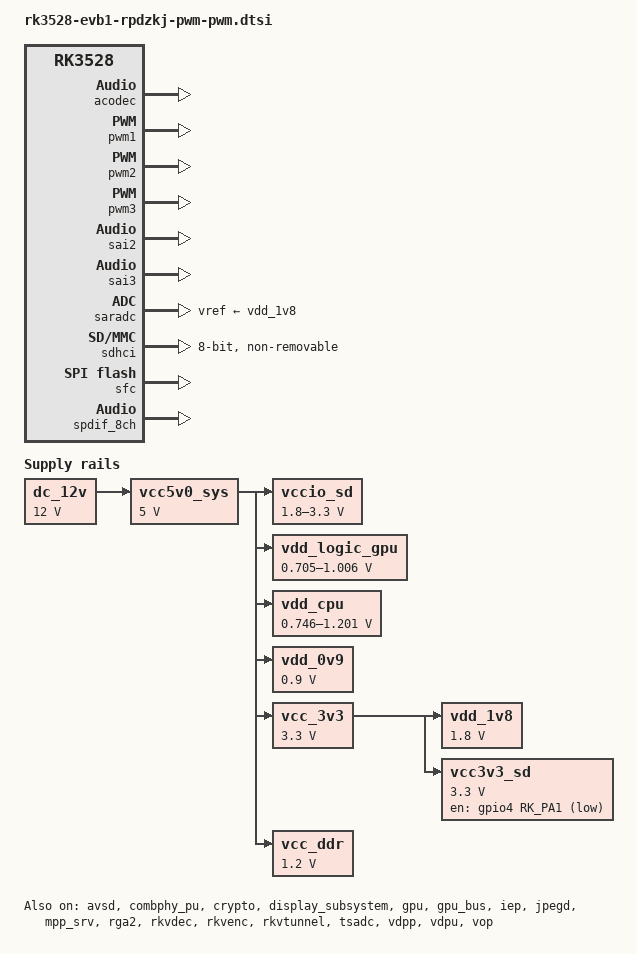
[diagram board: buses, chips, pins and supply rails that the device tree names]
// SPDX-License-Identifier: (GPL-2.0+ OR MIT)
/*
 * Copyright (c) 2022 Rockchip Electronics Co., Ltd.
 *
 */

/dts-v1/;

#include "../rk3528.dtsi"
#include <dt-bindings/gpio/gpio.h>
#include <dt-bindings/input/rk-input.h>
#include <dt-bindings/pinctrl/rockchip.h>

/ {
	dc_12v: dc-12v {
		compatible = "regulator-fixed";
		regulator-name = "dc_12v";
		regulator-always-on;
		regulator-boot-on;
		regulator-min-microvolt = <12000000>;
		regulator-max-microvolt = <12000000>;
	};


	vcc5v0_sys: vcc5v0-sys {
		compatible = "regulator-fixed";
		regulator-name = "vcc5v0_sys";
		regulator-always-on;
		regulator-boot-on;
		regulator-min-microvolt = <5000000>;
		regulator-max-microvolt = <5000000>;
		vin-supply = <&dc_12v>;
	};

	/omit-if-no-ref/
	vccio_sd: vccio-sd {
		compatible = "regulator-gpio";
		regulator-name = "vccio_sd";
		regulator-min-microvolt = <1800000>;
		regulator-max-microvolt = <3300000>;
		gpios = <&gpio4 RK_PB6 GPIO_ACTIVE_HIGH>;
		vin-supply = <&vcc5v0_sys>;
		states = <1800000 0x0
			  3300000 0x1>;
	};

	vdd_logic_gpu: vdd-logic-gpu {
		compatible = "pwm-regulator";
		pwms = <&pwm2 0 5000 1>;
		regulator-name = "vdd_logic_gpu";
		regulator-min-microvolt = <705000>;
		regulator-max-microvolt = <1006000>;
		regulator-init-microvolt = <900000>;
		regulator-always-on;
		regulator-boot-on;
		regulator-settling-time-up-us = <250>;
		pwm-supply = <&vcc5v0_sys>;
		status = "okay";
	};

	vdd_cpu: vdd-cpu { //vdd_arm
		compatible = "pwm-regulator";
		pwms = <&pwm1 0 5000 1>;
		regulator-name = "vdd_cpu";
		regulator-min-microvolt = <746000>;
		regulator-max-microvolt = <1201000>;
		regulator-init-microvolt = <953000>;
		regulator-always-on;
		regulator-boot-on;
		regulator-settling-time-up-us = <250>;
		pwm-supply = <&vcc5v0_sys>;
		status = "okay";
	};
	/*
	vdd_gpu: vdd-gpu {
		compatible = "pwm-regulator";
		pwms = <&pwm0 0 5000 1>;
		regulator-name = "vdd_gpu";
		regulator-min-microvolt = <705000>;
		regulator-max-microvolt = <1148000>;
		regulator-init-microvolt = <900000>;
		regulator-always-on;
		regulator-boot-on;
		regulator-settling-time-up-us = <250>;
		pwm-supply = <&vcc5v0_sys>;
		status = "okay";
	};
	*/
	vdd_0v9: vdd-0v9 {
		compatible = "regulator-fixed";
		regulator-name = "vdd_0v9";
		regulator-always-on;
		regulator-boot-on;
		regulator-min-microvolt = <900000>;
		regulator-max-microvolt = <900000>;
		vin-supply = <&vcc5v0_sys>;
	};

	vcc_3v3: vcc-3v3 {
		compatible = "regulator-fixed";
		regulator-name = "vcc_3v3";
		regulator-always-on;
		regulator-boot-on;
		regulator-min-microvolt = <3300000>;
		regulator-max-microvolt = <3300000>;
		vin-supply = <&vcc5v0_sys>;
	};

	vdd_1v8: vdd-1v8 {
                compatible = "regulator-fixed";
                regulator-name = "vdd_1v8";
                regulator-always-on;
                regulator-boot-on;
                regulator-min-microvolt = <1800000>;
                regulator-max-microvolt = <1800000>;
                vin-supply = <&vcc_3v3>;
        };

	/omit-if-no-ref/
	vcc3v3_sd: vcc3v3-sd {
		compatible = "regulator-fixed";
		gpio = <&gpio4 RK_PA1 GPIO_ACTIVE_LOW>;
		regulator-name = "vcc3v3_sd";
		regulator-min-microvolt = <3300000>;
		regulator-max-microvolt = <3300000>;
		vin-supply = <&vcc_3v3>;
	};

	vcc_ddr: vcc-ddr {
		compatible = "regulator-fixed";
		regulator-name = "vcc_ddr";
		regulator-always-on;
		regulator-boot-on;
		regulator-min-microvolt = <1200000>;
		regulator-max-microvolt = <1200000>;
		vin-supply = <&vcc5v0_sys>;
	};
};

&acodec {
	pa-ctl-gpios = <&gpio0 RK_PA0 GPIO_ACTIVE_HIGH>;
	status = "okay";
};

&avsd {
	status = "okay";
};

&combphy_pu {
	status = "okay";
};

&cpu0 {
	cpu-supply = <&vdd_cpu>;
};

&crypto {
	status = "okay";
};

&dfi {
	status = "okay";
};

&display_subsystem {
	status = "okay";
};

&dmc {
	center-supply = <&vdd_logic_gpu>;
	status = "okay";
};

&gpu {
	mali-supply = <&vdd_logic_gpu>;
	status = "okay";
};

&gpu_bus {
	bus-supply = <&vdd_logic_gpu>;
	status = "okay";
};

&iep {
	status = "okay";
};

&iep_mmu {
	status = "okay";
};

&jpegd {
	status = "okay";
};

&jpegd_mmu {
	status = "okay";
};

&mpp_srv {
	status = "okay";
};

&pwm1 {
	status = "okay";
};

&pwm2 {
	status = "okay";
};

&pwm3 {
	compatible = "rockchip,remotectl-pwm";
	pinctrl-names = "default";
	pinctrl-0 = <&pwm3m0_pins>;
	remote_pwm_id = <3>;
	handle_cpu_id = <1>;
	remote_support_psci = <0>;
	status = "okay";

	ir_key1 {
		rockchip,usercode = <0x4040>;
		rockchip,key_table =
			<0xf2	KEY_REPLY>,
			<0xba	KEY_BACK>,
			<0xf4	KEY_UP>,
			<0xf1	KEY_DOWN>,
			<0xef	KEY_LEFT>,
			<0xee	KEY_RIGHT>,
			<0xbd	KEY_HOME>,
			<0xea	KEY_VOLUMEUP>,
			<0xe3	KEY_VOLUMEDOWN>,
			<0xe2	KEY_SEARCH>,
			<0xb2	KEY_POWER>,
			<0xbc	KEY_MUTE>,
			<0xec	KEY_MENU>,
			<0xbf	0x190>,
			<0xe0	0x191>,
			<0xe1	0x192>,
			<0xe9	183>,
			<0xe6	248>,
			<0xe8	185>,
			<0xe7	186>,
			<0xf0	388>,
			<0xbe	0x175>;
	};

	ir_key2 {
		rockchip,usercode = <0xff00>;
		rockchip,key_table =
			<0xf9	KEY_HOME>,
			<0xbf	KEY_BACK>,
			<0xfb	KEY_MENU>,
			<0xaa	KEY_REPLY>,
			<0xb9	KEY_UP>,
			<0xe9	KEY_DOWN>,
			<0xb8	KEY_LEFT>,
			<0xea	KEY_RIGHT>,
			<0xeb	KEY_VOLUMEDOWN>,
			<0xef	KEY_VOLUMEUP>,
			<0xf7	KEY_MUTE>,
			<0xe7	KEY_POWER>,
			<0xfc	KEY_POWER>,
			<0xa9	KEY_VOLUMEDOWN>,
			<0xa8	KEY_PLAYPAUSE>,
			<0xe0	KEY_VOLUMEDOWN>,
			<0xa5	KEY_VOLUMEDOWN>,
			<0xab	183>,
			<0xb7	388>,
			<0xe8	388>,
			<0xf8	184>,
			<0xaf	185>,
			<0xed	KEY_VOLUMEDOWN>,
			<0xee	186>,
			<0xb3	KEY_VOLUMEDOWN>,
			<0xf1	KEY_VOLUMEDOWN>,
			<0xf2	KEY_VOLUMEDOWN>,
			<0xf3	KEY_SEARCH>,
			<0xb4	KEY_VOLUMEDOWN>,
			<0xa4	KEY_SETUP>,
			<0xbe	KEY_SEARCH>;
	};

	ir_key3 {
		rockchip,usercode = <0x1dcc>;
		rockchip,key_table =
			<0xee	KEY_REPLY>,
			<0xf0	KEY_BACK>,
			<0xf8	KEY_UP>,
			<0xbb	KEY_DOWN>,
			<0xef	KEY_LEFT>,
			<0xed	KEY_RIGHT>,
			<0xfc	KEY_HOME>,
			<0xf1	KEY_VOLUMEUP>,
			<0xfd	KEY_VOLUMEDOWN>,
			<0xb7	KEY_SEARCH>,
			<0xff	KEY_POWER>,
			<0xf3	KEY_MUTE>,
			<0xbf	KEY_MENU>,
			<0xf9	0x191>,
			<0xf5	0x192>,
			<0xb3	388>,
			<0xbe	KEY_1>,
			<0xba	KEY_2>,
			<0xb2	KEY_3>,
			<0xbd	KEY_4>,
			<0xf9	KEY_5>,
			<0xb1	KEY_6>,
			<0xfc	KEY_7>,
			<0xf8	KEY_8>,
			<0xb0	KEY_9>,
			<0xb6	KEY_0>,
			<0xb5	KEY_BACKSPACE>;
	};
};

&rga2 {
	status = "okay";
};

&rga2_mmu {
	status = "okay";
};

&rkvdec {
	status = "okay";
};

&rkvdec_mmu {
	status = "okay";
};

&rkvenc {
	status = "okay";
};

&rkvenc_mmu {
	status = "okay";
};

&rkvtunnel {
	status = "okay";
};

&rockchip_suspend {
	status = "okay";
	rockchip,sleep-debug-en = <1>;
	rockchip,virtual-poweroff = <1>;
	rockchip,sleep-mode-config = <
		(0
		| RKPM_SLP_ARMPD
		)
	>;
	rockchip,wakeup-config = <
		(0
		| RKPM_CPU0_WKUP_EN
		| RKPM_GPIO_WKUP_EN
		)
	>;
	rockchip,pwm-regulator-config = <
		(0
		| RKPM_PWM0_M0_REGULATOR_EN
		| RKPM_PWM1_M0_REGULATOR_EN
		)
	>;
};

&sai0 {
	pinctrl-0 = <&i2s0m1_lrck &i2s0m1_sclk &i2s0m1_sdi &i2s0m1_sdo>;
	status = "disabled";
};

&sai2 {
	status = "okay";
};

&sai3 {
	status = "okay";
};

&saradc {
	status = "okay";
	vref-supply = <&vdd_1v8>;
};

&sdhci {
	bus-width = <8>;
	no-sd;
	no-sdio;
	non-removable;
	mmc-hs400-1_8v;
	mmc-hs400-enhanced-strobe;
	max-frequency = <200000000>;
	status = "okay";
};

&sdmmc {
	bus-width = <4>;
	cap-mmc-highspeed;
	cap-sd-highspeed;
	disable-wp;
	max-frequency = <150000000>;
	pinctrl-names = "default";
	pinctrl-0 = <&sdmmc_clk &sdmmc_cmd &sdmmc_det &sdmmc_bus4>;
	rockchip,default-sample-phase = <90>;
	supports-sd;
	sd-uhs-sdr12;
	sd-uhs-sdr25;
	sd-uhs-sdr50;
	sd-uhs-sdr104;
	vqmmc-supply = <&vccio_sd>;
	vmmc-supply = <&vcc3v3_sd>;
	status = "disabled";
};

&sfc {
	status = "okay";
};

&spdif_8ch {
	status = "okay";
};

&tsadc {       //Thermal (温度控制)
	status = "okay";
};

&vdpp {
	status = "okay";
};

&vdpu {
	status = "okay";
};

&vdpu_mmu {
	status = "okay";
};

&vop {
	status = "okay";
};

&vop_mmu {
	status = "okay";
};


&gpu_opp_table {
	opp-300000000 {
		opp-hz = /bits/ 64 <300000000>;
		opp-microvolt = <900000 900000 1000000>;
		opp-microvolt-L5 = <900000 900000 1000000>;
		opp-microvolt-L6 = <900000 900000 1000000>;
		opp-microvolt-L7 = <900000 900000 1000000>;
		opp-microvolt-L8 = <900000 900000 1000000>;
	};
	opp-500000000 {
		opp-hz = /bits/ 64 <500000000>;
		opp-microvolt = <900000 900000 1000000>;
		opp-microvolt-L5 = <900000 900000 1000000>;
		opp-microvolt-L6 = <900000 900000 1000000>;
		opp-microvolt-L7 = <900000 900000 1000000>;
		opp-microvolt-L8 = <900000 900000 1000000>;
	};
	opp-600000000 {
		opp-hz = /bits/ 64 <600000000>;
		opp-microvolt = <900000 900000 1000000>;
		opp-microvolt-L5 = <900000 900000 1000000>;
		opp-microvolt-L6 = <900000 900000 1000000>;
		opp-microvolt-L7 = <900000 900000 1000000>;
		opp-microvolt-L8 = <900000 900000 1000000>;
	};
	opp-700000000 {
		opp-hz = /bits/ 64 <700000000>;
		opp-microvolt = <900000 900000 1000000>;
		opp-microvolt-L1 = <900000 900000 1000000>;
		opp-microvolt-L2 = <900000 900000 1000000>;
		opp-microvolt-L3 = <900000 900000 1000000>;
		opp-microvolt-L4 = <900000 900000 1000000>;
		opp-microvolt-L5 = <900000 900000 1000000>;
		opp-microvolt-L6 = <900000 900500 1000000>;
		opp-microvolt-L7 = <900000 900000 1000000>;
		opp-microvolt-L8 = <900000 900000 1000000>;
		clock-latency-ns = <40000>;
	};
	opp-800000000 {
		opp-hz = /bits/ 64 <800000000>;
		opp-microvolt = <950000 950000 1000000>;
		opp-microvolt-L1 = <937500 937500 1000000>;
		opp-microvolt-L2 = <925000 925000 1000000>;
		opp-microvolt-L3 = <912500 912500 1000000>;
		opp-microvolt-L4 = <900000 900000 1000000>;
		opp-microvolt-L5 = <900000 900000 1000000>;
		opp-microvolt-L6 = <900000 900000 1000000>;
		opp-microvolt-L7 = <900000 900000 1000000>;
		opp-microvolt-L8 = <900000 900000 1000000>;
		clock-latency-ns = <40000>;
	};
};

&gpu_bus_opp_table {
	opp-700000000 {
		opp-hz = /bits/ 64 <700000000>;
		opp-microvolt = <900000 900000 1000000>;
	};
	opp-800000000 {
		opp-hz = /bits/ 64 <800000000>;
		opp-microvolt = <900000 900000 1000000>;
		opp-microvolt-L1 = <900000 900000 1000000>;
	};
};



&dfi {
	status = "disabled";
};


&dmc {
	status = "disabled";
};

